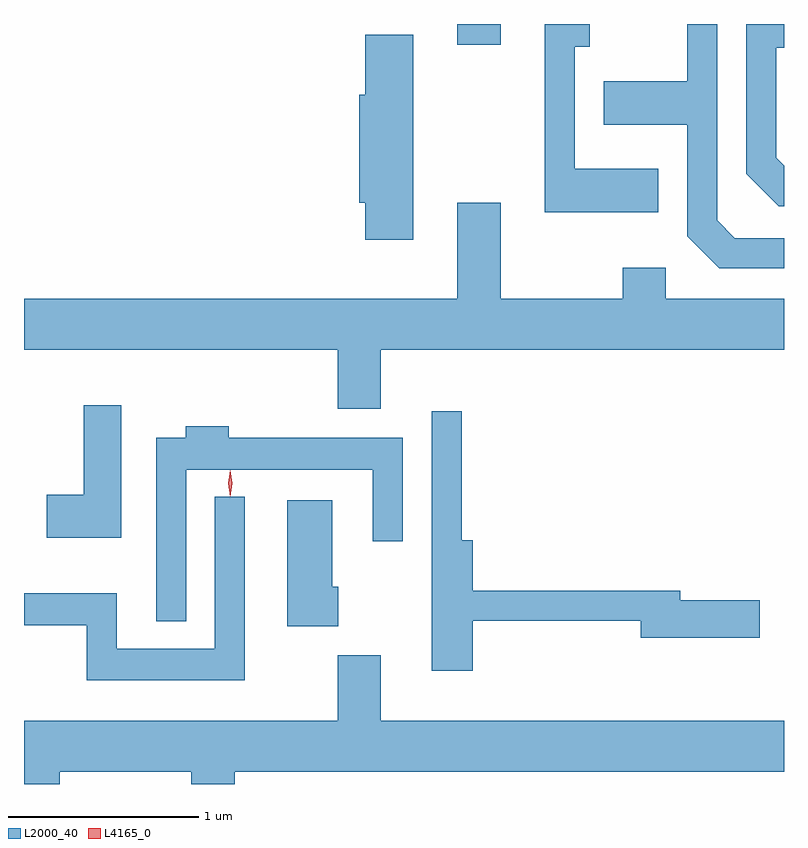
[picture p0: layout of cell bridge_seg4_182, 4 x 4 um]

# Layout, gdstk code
import gdstk
lib = gdstk.Library(unit=1e-6, precision=1e-09)
def R(c, l, rs):  # rectangles x0, y0, x1, y1
    for r in rs: c.add(gdstk.rectangle(r[:2], r[2:], *l))
def P(c, l, *ps):  # polygons
    for p in ps: c.add(gdstk.Polygon(p, *l))
L2000_40 = (2000, 40)
L4165_0 = (4165, 0)

bridge_seg4_182 = lib.new_cell('bridge_seg4_182')
R(bridge_seg4_182, L2000_40, [(1080.101,1260.821,1080.329,1260.931)])
P(bridge_seg4_182, L2000_40, [(1081.159,1260.169),(1080.719,1260.169),(1080.719,1260.811),(1080.798,1260.811),(1080.798,1260.931),(1080.561,1260.931),(1080.561,1259.941),(1081.159,1259.941)],
  [(1081.821,1259.804),(1081.562,1259.804),(1081.469,1259.897),(1081.469,1260.931),(1081.311,1260.931),(1081.311,1260.629),(1080.871,1260.629),(1080.871,1260.401),(1081.311,1260.401),(1081.311,1259.814),(1081.479,1259.646),(1081.821,1259.646)],
  [(1081.821,1260.185),(1081.779,1260.227),(1081.779,1260.806),(1081.821,1260.806),(1081.821,1260.931),(1081.621,1260.931),(1081.621,1260.144),(1081.794,1259.971),(1081.821,1259.971)],
  [(1079.869,1260.874),(1079.616,1260.874),(1079.616,1260.559),(1079.586,1260.559),(1079.586,1259.991),(1079.616,1259.991),(1079.616,1259.796),(1079.869,1259.796)],
  [(1077.821,1259.216),(1079.471,1259.216),(1079.471,1258.906),(1079.699,1258.906),(1079.699,1259.216),(1081.821,1259.216),(1081.821,1259.484),(1081.199,1259.484),(1081.199,1259.649),(1080.971,1259.649),(1080.971,1259.484),(1080.329,1259.484),(1080.329,1259.989),(1080.101,1259.989),(1080.101,1259.484),(1077.821,1259.484)],
  [(1078.334,1258.924),(1078.136,1258.924),(1078.136,1258.454),(1077.941,1258.454),(1077.941,1258.226),(1078.334,1258.226)],
  [(1080.184,1257.791),(1081.066,1257.791),(1081.066,1257.701),(1081.694,1257.701),(1081.694,1257.899),(1081.274,1257.899),(1081.274,1257.949),(1080.184,1257.949),(1080.184,1258.214),(1080.124,1258.214),(1080.124,1258.893),(1079.966,1258.893),(1079.966,1257.526),(1080.184,1257.526)],
  [(1078.674,1258.586),(1079.656,1258.586),(1079.656,1258.208),(1079.814,1258.208),(1079.814,1258.754),(1078.899,1258.754),(1078.899,1258.814),(1078.671,1258.814),(1078.671,1258.754),(1078.516,1258.754),(1078.516,1257.788),(1078.674,1257.788)],
  [(1078.984,1258.443),(1078.826,1258.443),(1078.826,1257.644),(1078.309,1257.644),(1078.309,1257.934),(1077.821,1257.934),(1077.821,1257.766),(1078.151,1257.766),(1078.151,1257.476),(1078.984,1257.476)],
  [(1079.474,1257.969),(1079.444,1257.969),(1079.444,1258.424),(1079.206,1258.424),(1079.206,1257.761),(1079.474,1257.761)],
  [(1078.009,1256.996),(1078.701,1256.996),(1078.701,1256.931),(1078.929,1256.931),(1078.929,1256.996),(1081.821,1256.996),(1081.821,1257.264),(1079.699,1257.264),(1079.699,1257.609),(1079.471,1257.609),(1079.471,1257.264),(1077.821,1257.264),(1077.821,1256.931),(1078.009,1256.931)])
P(bridge_seg4_182, L4165_0, [(1078.906,1258.447),(1078.906,1258.447),(1078.896,1258.514),(1078.906,1258.58),(1078.906,1258.581),(1078.907,1258.58),(1078.916,1258.514),(1078.907,1258.447)],
  [(1078.906,1258.444),(1078.906,1258.444),(1078.896,1258.513),(1078.906,1258.582),(1078.906,1258.583),(1078.907,1258.582),(1078.916,1258.513),(1078.907,1258.444)])

lib.write_gds('bridge_seg4_182.gds')
